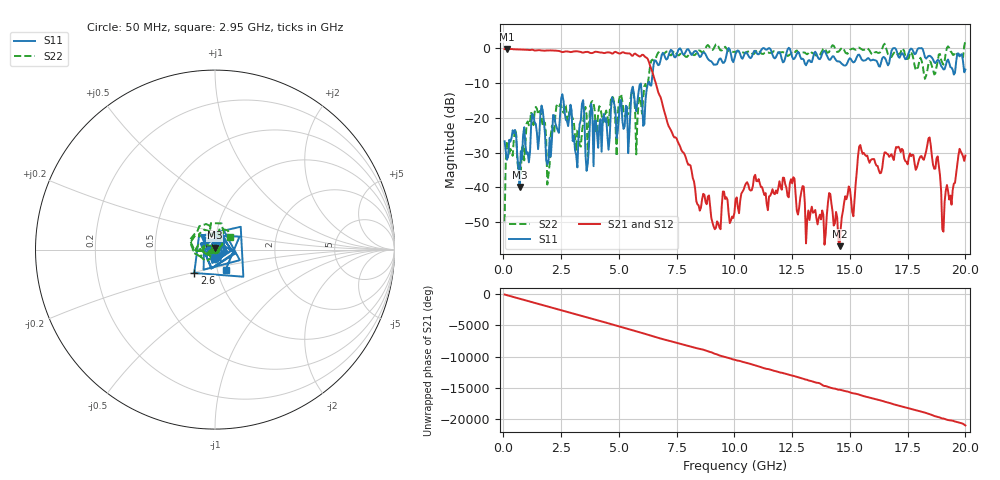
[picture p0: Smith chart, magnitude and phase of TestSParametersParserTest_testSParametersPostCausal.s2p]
! File created by SignalIntegrity v1.1.7: Signal and Power Integrity Tools
! https://github.com/TeledyneLeCroy/SignalIntegrity
# MHz MA S R 50.0
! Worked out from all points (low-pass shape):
!   400 points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, 50 MHz to 20 GHz, reference 50 ohm
!   highest |S21| = -0.17 dB at 150 MHz (marker M1); lowest = -56.9 dB at 14.55 GHz (marker M2)
!   |S21| within 3 dB of the highest: start of sweep to 6.254 GHz
!   lowest |S11| = -39.9 dB at 700 MHz (marker M3), VSWR 1.02, Z = 49.8 + j0.991 ohm
!   |S11| at or under -10 dB: start of sweep to 6.27 GHz; 6.32 GHz to 6.412 GHz (91.72 MHz wide, 1.44 % of centre)
!   |S22| runs from -49.8 to 2.3 dB; largest |S21 - S12| = 0
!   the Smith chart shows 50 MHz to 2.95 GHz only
!   S11 on the Smith chart (normalised r, x): 50 MHz: 1.00, -0.09; 2.6 GHz: 0.77, -0.21; 2.95 GHz: 1.09, -0.25
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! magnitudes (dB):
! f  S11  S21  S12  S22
! 50 MHz  -26.7  -0.2  -0.2  -49.8
! 150 MHz  -32.1  -0.2  -0.2  -26.8
! 700 MHz  -39.9  -0.4  -0.4  -32.4
! 2.6 GHz  -15.2  -1.1  -1.1  -18.5
! 2.95 GHz  -17.8  -1.0  -1.0  -19.4
! 3.2 GHz  -34.3  -0.9  -0.9  -23.6
! 3.4 GHz  -15.9  -1.2  -1.2  -24.0
! 3.6 GHz  -35.2  -1.0  -1.0  -19.3
! 3.8 GHz  -16.0  -1.4  -1.4  -15.6
! 5.4 GHz  -30.1  -1.5  -1.5  -18.9
! 5.6 GHz  -11.0  -2.1  -2.1  -12.1
! 5.75 GHz  -18.1  -1.8  -1.8  -30.5
! 6.7 GHz  -4.9  -12.6  -12.6  -1.2
! 8.5 GHz  -2.5  -46.7  -46.7  -0.6
! 10.05 GHz  -1.6  -43.5  -43.5  -1.0
! 13.35 GHz  -4.0  -45.5  -45.5  -1.2
! 14.55 GHz  -3.8  -56.9  -56.9  -0.7
! 15.4 GHz  -1.8  -28.3  -28.3  0.2
! 16.7 GHz  -4.3  -31.2  -31.2  -2.2
! 18.45 GHz  -2.1  -25.6  -25.6  -3.7
! 19.05 GHz  -6.1  -52.7  -52.7  -4.7
! 20 GHz  -6.1  -30.8  -30.8  2.3
